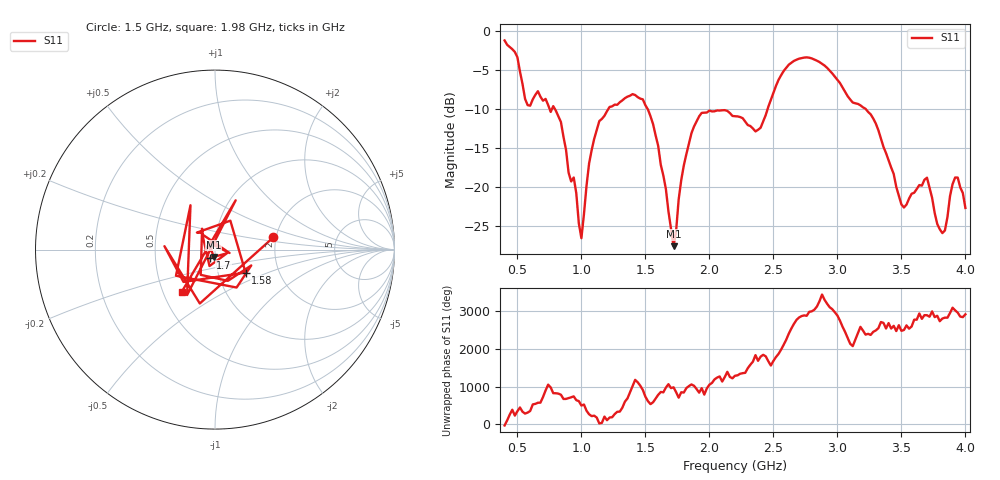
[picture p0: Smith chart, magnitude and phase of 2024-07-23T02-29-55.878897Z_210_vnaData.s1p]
!Created with skrf (http://scikit-rf.org).
# Hz S RI R 50.0
!freq ReS11 ImS11
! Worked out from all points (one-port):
!   181 points, 400 MHz to 4 GHz, reference 50 ohm
!   lowest |S11| = -27.6 dB at 1.72 GHz (marker M1), VSWR 1.09, Z = 49.1 - j4.04 ohm
!   |S11| at or under -10 dB: 791.3 MHz to 1.212 GHz (420.7 MHz wide, 42 % of centre); 1.516 GHz to 2.456 GHz (940.1 MHz wide, 47.3 % of centre); 3.217 GHz to end of sweep (the widest 3 of 4)
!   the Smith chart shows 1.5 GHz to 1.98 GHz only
!   S11 on the Smith chart (normalised r, x): 1.5 GHz: 1.93, +0.30; 1.58 GHz: 1.35, -0.36; 1.7 GHz: 0.94, -0.09; 1.98 GHz: 0.62, -0.32
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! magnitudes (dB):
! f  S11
! 400 MHz  -1.3
! 500 MHz  -3.4
! 580 MHz  -9.6
! 660 MHz  -7.8
! 860 MHz  -13.6
! 940 MHz  -18.8
! 1 GHz  -26.6
! 1.1 GHz  -13.9
! 1.3 GHz  -9.2
! 1.5 GHz  -9.6
! 1.58 GHz  -13.4
! 1.7 GHz  -25.3
! 1.72 GHz  -27.6
! 1.76 GHz  -21.6
! 1.86 GHz  -13.1
! 1.98 GHz  -10.5
! 2.2 GHz  -11.0
! 2.4 GHz  -12.4
! 2.66 GHz  -3.9
! 2.88 GHz  -4.3
! 3.1 GHz  -8.8
! 3.28 GHz  -11.3
! 3.5 GHz  -22.3
! 3.56 GHz  -21.5
! 3.7 GHz  -18.8
! 3.82 GHz  -25.9
! 3.94 GHz  -18.8
! 4 GHz  -22.7
